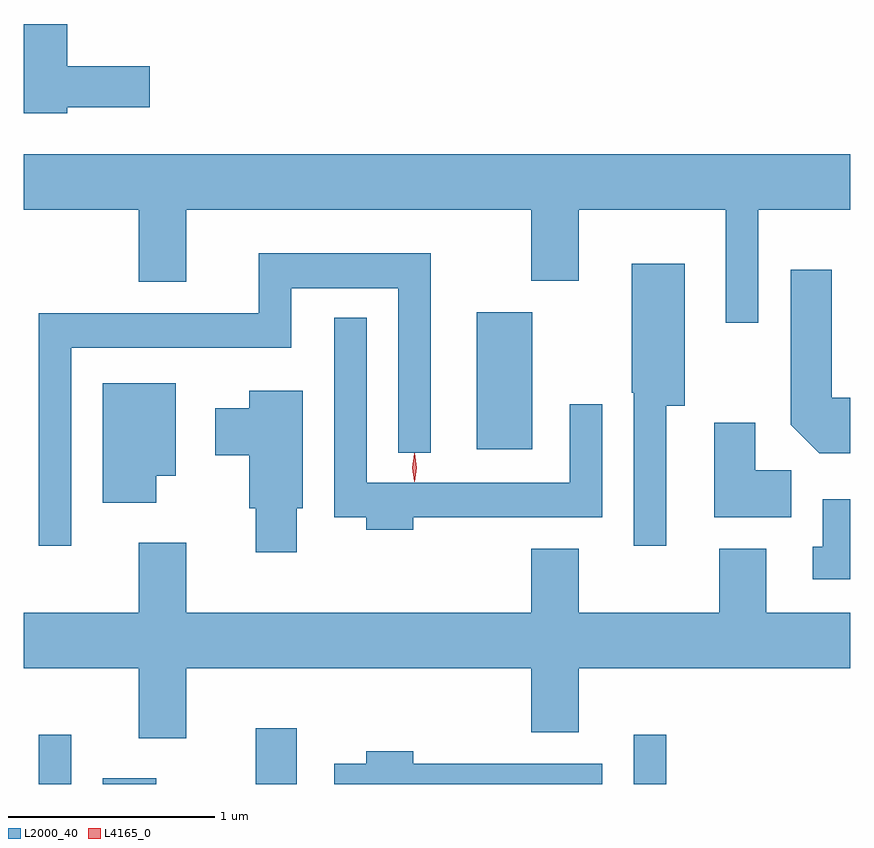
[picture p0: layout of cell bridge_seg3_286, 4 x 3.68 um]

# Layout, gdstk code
import gdstk
lib = gdstk.Library(unit=1e-6, precision=1e-09)
def R(c, l, rs):  # rectangles x0, y0, x1, y1
    for r in rs: c.add(gdstk.rectangle(r[:2], r[2:], *l))
def P(c, l, *ps):  # polygons
    for p in ps: c.add(gdstk.Polygon(p, *l))
L2000_40 = (2000, 40)
L4165_0 = (4165, 0)

bridge_seg3_286 = lib.new_cell('bridge_seg3_286')
R(bridge_seg3_286, L2000_40, [(1068.946,1121.015,1069.104,1121.253), (1069.256,1121.015,1069.514,1121.044), (1069.996,1121.015,1070.194,1121.284), (1071.826,1121.015,1071.984,1121.253), (1071.066,1122.636,1071.334,1123.299)])
P(bridge_seg3_286, L2000_40, [(1069.084,1124.291),(1069.484,1124.291),(1069.484,1124.489),(1069.084,1124.489),(1069.084,1124.694),(1068.874,1124.694),(1068.874,1124.261),(1069.084,1124.261)],
  [(1072.429,1123.796),(1072.874,1123.796),(1072.874,1124.064),(1068.874,1124.064),(1068.874,1123.796),(1069.431,1123.796),(1069.431,1123.446),(1069.659,1123.446),(1069.659,1123.796),(1071.331,1123.796),(1071.331,1123.451),(1071.559,1123.451),(1071.559,1123.796),(1072.271,1123.796),(1072.271,1123.248),(1072.429,1123.248)],
  [(1069.104,1123.126),(1070.169,1123.126),(1070.169,1123.416),(1070.686,1123.416),(1070.686,1122.618),(1070.844,1122.618),(1070.844,1123.584),(1070.011,1123.584),(1070.011,1123.294),(1068.946,1123.294),(1068.946,1122.168),(1069.104,1122.168)],
  [(1071.984,1122.846),(1072.074,1122.846),(1072.074,1123.534),(1071.816,1123.534),(1071.816,1122.91),(1071.826,1122.91),(1071.826,1122.168),(1071.984,1122.168)],
  [(1072.874,1122.884),(1072.784,1122.884),(1072.784,1123.504),(1072.586,1123.504),(1072.586,1122.754),(1072.724,1122.616),(1072.874,1122.616)],
  [(1070.759,1122.306),(1071.674,1122.306),(1071.674,1122.853),(1071.516,1122.853),(1071.516,1122.474),(1070.534,1122.474),(1070.534,1123.273),(1070.376,1123.273),(1070.376,1122.306),(1070.531,1122.306),(1070.531,1122.246),(1070.759,1122.246)],
  [(1069.514,1122.506),(1069.609,1122.506),(1069.609,1122.954),(1069.256,1122.954),(1069.256,1122.376),(1069.514,1122.376)],
  [(1070.194,1122.351),(1070.224,1122.351),(1070.224,1122.919),(1069.966,1122.919),(1069.966,1122.834),(1069.801,1122.834),(1069.801,1122.606),(1069.966,1122.606),(1069.966,1122.351),(1069.996,1122.351),(1069.996,1122.136),(1070.194,1122.136)],
  [(1072.589,1122.534),(1072.414,1122.534),(1072.414,1122.764),(1072.216,1122.764),(1072.216,1122.306),(1072.589,1122.306)],
  [(1072.874,1122.394),(1072.741,1122.394),(1072.741,1122.164),(1072.693,1122.164),(1072.693,1122.006),(1072.874,1122.006)],
  [(1069.659,1121.576),(1071.331,1121.576),(1071.331,1121.266),(1071.559,1121.266),(1071.559,1121.576),(1072.874,1121.576),(1072.874,1121.844),(1072.469,1121.844),(1072.469,1122.154),(1072.241,1122.154),(1072.241,1121.844),(1071.559,1121.844),(1071.559,1122.154),(1071.331,1122.154),(1071.331,1121.844),(1069.659,1121.844),(1069.659,1122.184),(1069.431,1122.184),(1069.431,1121.844),(1068.874,1121.844),(1068.874,1121.576),(1069.431,1121.576),(1069.431,1121.236),(1069.659,1121.236)],
  [(1071.674,1121.114),(1070.759,1121.114),(1070.759,1121.174),(1070.531,1121.174),(1070.531,1121.114),(1070.376,1121.114),(1070.376,1121.015),(1071.674,1121.015)])
P(bridge_seg3_286, L4165_0, [(1070.765,1122.477),(1070.756,1122.547),(1070.765,1122.616),(1070.766,1122.616),(1070.766,1122.616),(1070.776,1122.547),(1070.766,1122.477),(1070.766,1122.477)],
  [(1070.765,1122.479),(1070.765,1122.48),(1070.755,1122.546),(1070.765,1122.612),(1070.765,1122.613),(1070.766,1122.612),(1070.775,1122.546),(1070.766,1122.48)])

lib.write_gds('bridge_seg3_286.gds')
